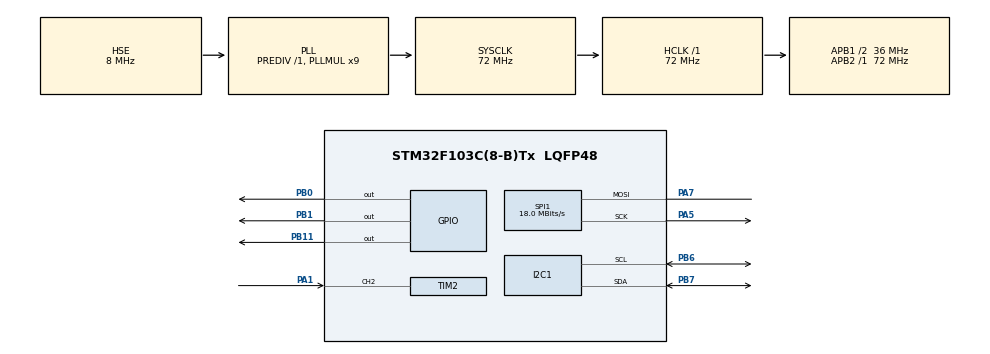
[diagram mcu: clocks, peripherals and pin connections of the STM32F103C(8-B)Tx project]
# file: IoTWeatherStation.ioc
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FREERTOS.Mutexes01=myMutex01,Dynamic,NULL,Available
FREERTOS.Tasks01=SensorTask,0,256,StartSensorTask,Default,NULL,Dynamic,NULL,NULL;HealthTask,0,128,StartHealthTask,Default,NULL,Dynamic,NULL,NULL;DisplayTask,-1,128,StartDisplayTask,Default,NULL,Dynamic,NULL,NULL
FREERTOS.configUSE_COUNTING_SEMAPHORES=1
FREERTOS.configUSE_TIMERS=1
Mcu.Family=STM32F1
Mcu.Name=STM32F103C(8-B)Tx
Mcu.Package=LQFP48
NVIC.PriorityGroup=NVIC_PRIORITYGROUP_4
NVIC.TIM2_IRQn=true\:5\:0\:false\:false\:true\:true\:true\:true\:true
NVIC.TIM4_IRQn=true\:15\:0\:false\:false\:true\:false\:false\:true\:true
NVIC.TimeBase=TIM4_IRQn
NVIC.TimeBaseIP=TIM4
PA1.Signal=S_TIM2_CH2
PA13.Mode=Serial_Wire
PA13.Signal=SYS_JTMS-SWDIO
PA14.Mode=Serial_Wire
PA14.Signal=SYS_JTCK-SWCLK
PA5.Mode=Simplex_Bidirectional_Master
PA5.Signal=SPI1_SCK
PA7.Mode=Simplex_Bidirectional_Master
PA7.Signal=SPI1_MOSI
PB0.Signal=GPIO_Output
PB1.Signal=GPIO_Output
PB11.Signal=GPIO_Output
PB6.Mode=I2C
PB6.Signal=I2C1_SCL
PB7.Mode=I2C
PB7.Signal=I2C1_SDA
PD0-OSC_IN.Mode=HSE-External-Oscillator
PD0-OSC_IN.Signal=RCC_OSC_IN
PD1-OSC_OUT.Mode=HSE-External-Oscillator
PD1-OSC_OUT.Signal=RCC_OSC_OUT
ProjectManager.HeapSize=0x200
ProjectManager.StackSize=0x400
ProjectManager.TargetToolchain=MDK-ARM V5.32
RCC.AHBFreq_Value=72000000
RCC.APB1CLKDivider=RCC_HCLK_DIV2
RCC.APB1Freq_Value=36000000
RCC.APB1TimFreq_Value=72000000
RCC.APB2Freq_Value=72000000
RCC.APB2TimFreq_Value=72000000
RCC.HCLKFreq_Value=72000000
RCC.PLLMUL=RCC_PLL_MUL9
RCC.PLLSourceVirtual=RCC_PLLSOURCE_HSE
RCC.SYSCLKFreq_VALUE=72000000
RCC.SYSCLKSource=RCC_SYSCLKSOURCE_PLLCLK
RCC.USBFreq_Value=72000000
SH.S_TIM2_CH2.0=TIM2_CH2,Input_Capture2_from_TI2
SPI1.BaudRatePrescaler=SPI_BAUDRATEPRESCALER_4
SPI1.CalculateBaudRate=18.0 MBits/s
SPI1.Direction=SPI_DIRECTION_1LINE
SPI1.Mode=SPI_MODE_MASTER
SPI1.VirtualType=VM_MASTER
TIM2.Channel-Input_Capture2_from_TI2=TIM_CHANNEL_2
TIM2.Prescaler=71
VP_FREERTOS_VS_CMSIS_V1.Mode=CMSIS_V1
VP_SYS_VS_tim4.Mode=TIM4
VP_TIM2_VS_ClockSourceINT.Mode=Internal
board=custom

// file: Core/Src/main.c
/* USER CODE BEGIN Header */
/**
  ******************************************************************************
  * @file           : main.c
  * @brief          : Main program body
  ******************************************************************************
  * @attention
  *
  * Copyright (c) 2026 STMicroelectronics.
  * All rights reserved.
  *
  * This software is licensed under terms that can be found in the LICENSE file
  * in the root directory of this software component.
  * If no LICENSE file comes with this software, it is provided AS-IS.
  *
  ******************************************************************************
  */
/* USER CODE END Header */
#include "main.h"
#include "cmsis_os.h"

/* USER CODE BEGIN Includes */
#include "BMP180.h"
#include "DHT11.h"
#include "ST7735_SPI.h"

/* USER CODE END Includes */

/* USER CODE BEGIN PTD */
typedef struct{
	DHT11_Data_t dht11;
	BMP180_Data_t bmp180;

	uint8_t dht11_status;
	uint8_t bmp180_status;

}Sensor_Data_t;
/* USER CODE END PTD */

I2C_HandleTypeDef hi2c1;

SPI_HandleTypeDef hspi1;

TIM_HandleTypeDef htim2;

osThreadId SensorTaskHandle;
osThreadId HealthTaskHandle;
osThreadId DisplayTaskHandle;
osMutexId myMutex01Handle;

void SystemClock_Config(void);
static void MX_GPIO_Init(void);
static void MX_TIM2_Init(void);
static void MX_I2C1_Init(void);
static void MX_SPI1_Init(void);
void StartSensorTask(void const * argument);
void StartHealthTask(void const * argument);
void StartDisplayTask(void const * argument);

int main(void)
{

  /* MCU Configuration--------------------------------------------------------*/

  /* Reset of all peripherals, Initializes the Flash interface and the Systick. */
  HAL_Init();

  /* Configure the system clock */
  SystemClock_Config();

  /* Initialize all configured peripherals */
  MX_GPIO_Init();
  MX_TIM2_Init();
  MX_I2C1_Init();
  MX_SPI1_Init();

  /* Create the mutex(es) */
  /* definition and creation of myMutex01 */
  osMutexDef(myMutex01);
  myMutex01Handle = osMutexCreate(osMutex(myMutex01));

  /* Create the thread(s) */
  /* definition and creation of SensorTask */
  osThreadDef(SensorTask, StartSensorTask, osPriorityNormal, 0, 256);
  SensorTaskHandle = osThreadCreate(osThread(SensorTask), NULL);

  /* definition and creation of HealthTask */
  osThreadDef(HealthTask, StartHealthTask, osPriorityNormal, 0, 128);
  HealthTaskHandle = osThreadCreate(osThread(HealthTask), NULL);

  /* definition and creation of DisplayTask */
  osThreadDef(DisplayTask, StartDisplayTask, osPriorityBelowNormal, 0, 128);
  DisplayTaskHandle = osThreadCreate(osThread(DisplayTask), NULL);

  /* Start scheduler */
  osKernelStart();

  /* We should never get here as control is now taken by the scheduler */

  /* Infinite loop */
  while (1)
  {

  }
}

void SystemClock_Config(void)
{
  RCC_OscInitTypeDef RCC_OscInitStruct = {0};
  RCC_ClkInitTypeDef RCC_ClkInitStruct = {0};

  /** Initializes the RCC Oscillators according to the specified parameters
  * in the RCC_OscInitTypeDef structure.
  */
  RCC_OscInitStruct.OscillatorType = RCC_OSCILLATORTYPE_HSE;
  RCC_OscInitStruct.HSEState = RCC_HSE_ON;
  RCC_OscInitStruct.HSEPredivValue = RCC_HSE_PREDIV_DIV1;
  RCC_OscInitStruct.HSIState = RCC_HSI_ON;
  RCC_OscInitStruct.PLL.PLLState = RCC_PLL_ON;
  RCC_OscInitStruct.PLL.PLLSource = RCC_PLLSOURCE_HSE;
  RCC_OscInitStruct.PLL.PLLMUL = RCC_PLL_MUL9;
  if (HAL_RCC_OscConfig(&RCC_OscInitStruct) != HAL_OK)
  {
    Error_Handler();
  }

  /** Initializes the CPU, AHB and APB buses clocks
  */
  RCC_ClkInitStruct.ClockType = RCC_CLOCKTYPE_HCLK|RCC_CLOCKTYPE_SYSCLK
                              |RCC_CLOCKTYPE_PCLK1|RCC_CLOCKTYPE_PCLK2;
  RCC_ClkInitStruct.SYSCLKSource = RCC_SYSCLKSOURCE_PLLCLK;
  RCC_ClkInitStruct.AHBCLKDivider = RCC_SYSCLK_DIV1;
  RCC_ClkInitStruct.APB1CLKDivider = RCC_HCLK_DIV2;
  RCC_ClkInitStruct.APB2CLKDivider = RCC_HCLK_DIV1;

  if (HAL_RCC_ClockConfig(&RCC_ClkInitStruct, FLASH_LATENCY_2) != HAL_OK)
  {
    Error_Handler();
  }
}

static void MX_I2C1_Init(void)
{

  hi2c1.Instance = I2C1;
  hi2c1.Init.ClockSpeed = 100000;
  hi2c1.Init.DutyCycle = I2C_DUTYCYCLE_2;
  hi2c1.Init.OwnAddress1 = 0;
  hi2c1.Init.AddressingMode = I2C_ADDRESSINGMODE_7BIT;
  hi2c1.Init.DualAddressMode = I2C_DUALADDRESS_DISABLE;
  hi2c1.Init.OwnAddress2 = 0;
  hi2c1.Init.GeneralCallMode = I2C_GENERALCALL_DISABLE;
  hi2c1.Init.NoStretchMode = I2C_NOSTRETCH_DISABLE;
  if (HAL_I2C_Init(&hi2c1) != HAL_OK)
  {
    Error_Handler();
  }

}

static void MX_SPI1_Init(void)
{

  /* SPI1 parameter configuration*/
  hspi1.Instance = SPI1;
  hspi1.Init.Mode = SPI_MODE_MASTER;
  hspi1.Init.Direction = SPI_DIRECTION_1LINE;
  hspi1.Init.DataSize = SPI_DATASIZE_8BIT;
  hspi1.Init.CLKPolarity = SPI_POLARITY_LOW;
  hspi1.Init.CLKPhase = SPI_PHASE_1EDGE;
  hspi1.Init.NSS = SPI_NSS_SOFT;
  hspi1.Init.BaudRatePrescaler = SPI_BAUDRATEPRESCALER_4;
  hspi1.Init.FirstBit = SPI_FIRSTBIT_MSB;
  hspi1.Init.TIMode = SPI_TIMODE_DISABLE;
  hspi1.Init.CRCCalculation = SPI_CRCCALCULATION_DISABLE;
  hspi1.Init.CRCPolynomial = 10;
  if (HAL_SPI_Init(&hspi1) != HAL_OK)
  {
    Error_Handler();
  }

}

static void MX_TIM2_Init(void)
{

  TIM_ClockConfigTypeDef sClockSourceConfig = {0};
  TIM_MasterConfigTypeDef sMasterConfig = {0};
  TIM_IC_InitTypeDef sConfigIC = {0};

  htim2.Instance = TIM2;
  htim2.Init.Prescaler = 71;
  htim2.Init.CounterMode = TIM_COUNTERMODE_UP;
  htim2.Init.Period = 65535;
  htim2.Init.ClockDivision = TIM_CLOCKDIVISION_DIV1;
  htim2.Init.AutoReloadPreload = TIM_AUTORELOAD_PRELOAD_DISABLE;
  if (HAL_TIM_Base_Init(&htim2) != HAL_OK)
  {
    Error_Handler();
  }
  sClockSourceConfig.ClockSource = TIM_CLOCKSOURCE_INTERNAL;
  if (HAL_TIM_ConfigClockSource(&htim2, &sClockSourceConfig) != HAL_OK)
  {
    Error_Handler();
  }
  if (HAL_TIM_IC_Init(&htim2) != HAL_OK)
  {
    Error_Handler();
  }
  sMasterConfig.MasterOutputTrigger = TIM_TRGO_RESET;
  sMasterConfig.MasterSlaveMode = TIM_MASTERSLAVEMODE_DISABLE;
  if (HAL_TIMEx_MasterConfigSynchronization(&htim2, &sMasterConfig) != HAL_OK)
  {
    Error_Handler();
  }
  sConfigIC.ICPolarity = TIM_INPUTCHANNELPOLARITY_RISING;
  sConfigIC.ICSelection = TIM_ICSELECTION_DIRECTTI;
  sConfigIC.ICPrescaler = TIM_ICPSC_DIV1;
  sConfigIC.ICFilter = 0;
  if (HAL_TIM_IC_ConfigChannel(&htim2, &sConfigIC, TIM_CHANNEL_2) != HAL_OK)
  {
    Error_Handler();
  }

}

static void MX_GPIO_Init(void)
{
  GPIO_InitTypeDef GPIO_InitStruct = {0};

  /* GPIO Ports Clock Enable */
  __HAL_RCC_GPIOD_CLK_ENABLE();
  __HAL_RCC_GPIOA_CLK_ENABLE();
  __HAL_RCC_GPIOB_CLK_ENABLE();

  /*Configure GPIO pin Output Level */
  HAL_GPIO_WritePin(GPIOB, GPIO_PIN_0|GPIO_PIN_1|GPIO_PIN_11, GPIO_PIN_RESET);

  /*Configure GPIO pins : PB0 PB1 PB11 */
  GPIO_InitStruct.Pin = GPIO_PIN_0|GPIO_PIN_1|GPIO_PIN_11;
  GPIO_InitStruct.Mode = GPIO_MODE_OUTPUT_PP;
  GPIO_InitStruct.Pull = GPIO_NOPULL;
  GPIO_InitStruct.Speed = GPIO_SPEED_FREQ_LOW;
  HAL_GPIO_Init(GPIOB, &GPIO_InitStruct);

}

/* USER CODE BEGIN 4 */
void HAL_TIM_IC_CaptureCallback(TIM_HandleTypeDef *htim)
{
    DHT11_TIM_IC_Callback(htim);
}
/* USER CODE END 4 */

void StartSensorTask(void const * argument)
{
  /* USER CODE BEGIN 5 */
  /* Infinite loop */
	// Init sensor
	Sensor_Data_t data;

	data.bmp180_status = 1;
	data.dht11_status = 1;

	HAL_StatusTypeDef status_BMP180 = BMP180_Init();
	HAL_StatusTypeDef status_DHT11 = DHT11_Init();

	if(status_BMP180 != BMP180_OK)
		data.bmp180_status = 0;
	if(status_DHT11 != DHT11_OK)
		data.dht11_status = 0;

  for(;;)
  {
		HAL_StatusTypeDef status;
		status = BMP180_GetData(&data.bmp180);
		if(status != BMP180_OK) data.bmp180_status = 0;

		status = DHT11_GetData(&data.dht11);
		if(status != DHT11_OK)
			data.dht11_status = 0;

    osDelay(2000);
  }
  /* USER CODE END 5 */
}

void StartHealthTask(void const * argument)
{
  for(;;)
  {
    osDelay(1);
  }
}

void StartDisplayTask(void const * argument)
{
  for(;;)
  {
    osDelay(1);
  }
}

void HAL_TIM_PeriodElapsedCallback(TIM_HandleTypeDef *htim)
{
  if (htim->Instance == TIM4)
  {
    HAL_IncTick();
  }
}

void Error_Handler(void)
{
  __disable_irq();
  while (1)
  {
  }
}
